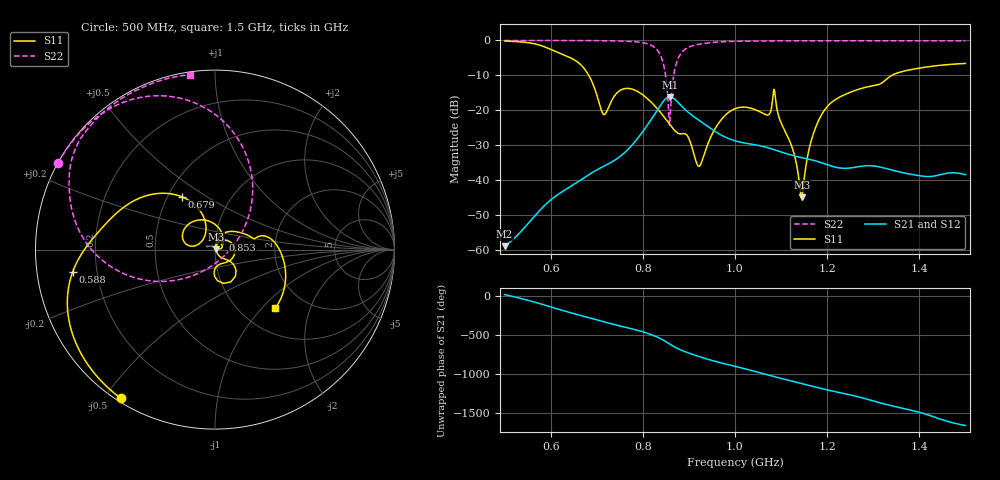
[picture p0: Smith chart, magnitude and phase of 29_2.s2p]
! TOUCHSTONE file generated by CST MICROWAVE STUDIO
! Date and time: Wed Oct 28 19:39:02 2020
! Project name: Scenario_1_Circular_Tissue_out_of_Line_v2.cst
! Parameters = {dy1=138.4; L_HA=400; MT=2.54; Rad_Dielectric=30; Rad_Lower=7.3; Rad_Upper=30; a_HA=580; a_WG=246; b_HA=500; b_WG=121; c_HA=0; c_WG=187; d_feed=85; dx1=346; h_feed=15; h_lower=18; h_upper=40}
! Header version: 2018
! Port assignment regex: !\s*Touchstone port\s*([0-9]+)\s*=\s*(CST MWS port|CST DS port)\s*([0-9]+|Zmin|Zmax)\s*\(\"(.*)\"\)(\s*mode\s*([0-9]+))?.*
! Touchstone port assignment:
! Touchstone port 1 = CST MWS port 1 ("")
! Touchstone port 2 = CST MWS port 2 ("")
# GHz S DB R 50
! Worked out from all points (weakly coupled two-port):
!   1003 points, 500 MHz to 1.5 GHz, reference 50 ohm
!   highest |S21| = -16.16 dB at 859 MHz (marker M1); lowest = -58.9 dB at 500 MHz (marker M2)
!   lowest |S11| = -44.8 dB at 1.145 GHz (marker M3), VSWR 1.01, Z = 50.6 + j0.164 ohm
!   |S11| at or under -10 dB: 682.7 MHz to 1.34 GHz (657.7 MHz wide, 65 % of centre)
!   |S22| runs from -24.3 to 0.0 dB; largest |S21 - S12| = 0.00041
!   S11 on the Smith chart (normalised r, x): 500 MHz: 0.01, -0.55; 588 MHz: 0.11, -0.08; 679 MHz: 0.59, +0.39; 853 MHz: 1.08, +0.12; 1.5 GHz: 1.42, -1.19
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0.5  -0.17 -122.3  -58.87 22.3  -58.87 22.3  -0.01 151.1
0.588  -1.90 -171.0  -47.05 -114.3  -47.05 -114.3  -0.02 145.0
0.667  -7.19 134.1  -39.77 111.1  -39.77 111.1  -0.04 138.4
0.679  -9.19 122.1  -38.73 91.4  -38.73 91.4  -0.05 137.2
0.715  -21.18 140.1  -36.02 32.5  -36.02 32.5  -0.08 133.0
0.764  -13.73 145.4  -31.67 -37.9  -31.67 -37.9  -0.22 124.6
0.834  -19.93 68.4  -19.38 -170.1  -19.38 -170.0  -3.23 83.7
0.846  -21.88 57.3  -17.18 152.9  -17.18 153.0  -7.51 60.2
0.853  -23.10 51.7  -16.37 127.9  -16.36 128.0  -14.30 35.0
0.859  -24.14 47.8  -16.16 105.6  -16.15 105.6  -22.77 -83.6
0.878  -26.65 41.8  -17.95 43.5  -17.95 43.5  -4.76 -169.8
0.897  -27.36 20.3  -20.40 -1.6  -20.40 -1.6  -2.10 169.6
0.922  -36.03 39.0  -22.86 -51.6  -22.87 -51.6  -1.09 157.1
0.961  -24.34 56.2  -26.38 -119.6  -26.38 -119.6  -0.47 147.0
1  -19.53 11.1  -28.72 -176.8  -28.72 -176.8  -0.25 140.3
1.071  -21.34 -70.3  -30.70 73.6  -30.70 73.6  -0.15 132.4
1.086  -14.56 -52.6  -31.31 49.8  -31.32 49.8  -0.14 131.0
1.145  -44.84 16.5  -33.55 -37.6  -33.55 -37.6  -0.10 126.0
1.167  -28.00 79.4  -34.19 -70.3  -34.19 -70.3  -0.10 124.2
1.211  -17.58 50.0  -36.03 -133.3  -36.03 -133.3  -0.08 120.8
1.334  -10.55 14.1  -36.87 46.3  -36.87 46.3  -0.08 111.5
1.5  -6.59 -44.3  -38.41 146.0  -38.43 145.8  -0.14 98.0
